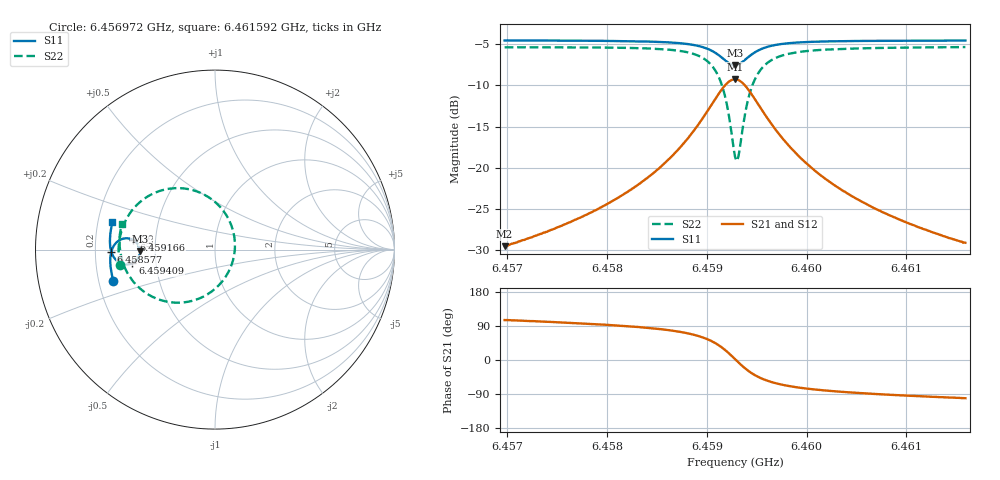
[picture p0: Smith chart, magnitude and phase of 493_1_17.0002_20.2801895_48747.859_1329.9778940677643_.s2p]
#  HZ  S  RI  R  50.00
! Rohde & Schwarz Vector Network Analyzer
! Rohde-Schwarz,ZNB20-2Port,1311601062101988,3.16
! Created: UTC 3/20/2024, 11:14:10 PM
! freq[Hz]  re:S11  im:S11  re:S21  im:S21  re:S12  im:S12  re:S22  im:S22
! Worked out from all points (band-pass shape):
!   401 points, 6.456972 GHz to 6.461592 GHz, reference 50 ohm
!   highest |S21| = -9.26 dB at 6.459282 GHz (marker M1); lowest = -29.5 dB at 6.456972 GHz (marker M2)
!   |S21| within 3 dB of the highest: 6.459051 GHz to 6.459513 GHz (461.6 kHz wide, 0.00715 % of centre)
!   lowest |S11| = -7.6 dB at 6.459282 GHz (marker M3), VSWR 2.44, Z = 20.5 - j0.489 ohm
!   |S11| at or under -10 dB: nowhere
!   |S22| runs from -19.1 to -5.4 dB; largest |S21 - S12| = 0.013
!   S11 on the Smith chart (normalised r, x): 6.456972 GHz: 0.26, -0.14; 6.458577 GHz: 0.27, -0.01; 6.459166 GHz: 0.37, +0.05; 6.459409 GHz: 0.37, -0.07; 6.461592 GHz: 0.26, +0.12
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6.4569719e9  -0.5664 -0.1725  -0.0089 0.0323  -0.00719 0.0322  -0.5316 -0.0854
6.4577457e9  -0.5806 -0.1049  -0.00562 0.0501  -0.00313 0.0495  -0.5373 0.00491
6.4581846e9  -0.5836 -0.061  0.000542 0.0703  0.00373 0.0689  -0.5288 0.0744
6.4585196e9  -0.5798 -0.0209  0.014 0.0983  0.018 0.0956  -0.504 0.1499
6.4585773e9  -0.578 -0.013  0.0184 0.1052  0.0224 0.1021  -0.4959 0.1665
6.4587852e9  -0.5651 0.019  0.0457 0.1375  0.0499 0.1325  -0.4446 0.2392
6.4589354e9  -0.5426 0.0453  0.0908 0.1678  0.094 0.1612  -0.3615 0.3036
6.459074e9  -0.499 0.0629  0.1777 0.1846  0.1786 0.1771  -0.2028 0.3426
6.4591664e9  -0.4546 0.0529  0.2673 0.1536  0.2675 0.1475  -0.0366 0.2927
6.4592126e9  -0.4335 0.0341  0.3109 0.1108  0.3121 0.1055  0.0461 0.2166
6.4592819e9  -0.4187 -0.00983  0.344 0.0141  0.3477 0.00726  0.111 0.0372
6.4592934e9  -0.4192 -0.0179  0.3437 -0.00356  0.3477 -0.0113  0.1108 0.00357
6.4593165e9  -0.4226 -0.0335  0.3384 -0.0382  0.3421 -0.0472  0.0997 -0.0621
6.4593627e9  -0.4382 -0.0594  0.3099 -0.0979  0.3121 -0.1099  0.0422 -0.175
6.4594089e9  -0.4602 -0.0756  0.2679 -0.1389  0.2672 -0.1521  -0.0428 -0.2497
6.4595013e9  -0.5033 -0.0823  0.1833 -0.1699  0.1771 -0.1813  -0.2112 -0.2957
6.4596515e9  -0.547 -0.0618  0.0958 -0.156  0.0873 -0.1622  -0.3783 -0.2462
6.4598132e9  -0.5685 -0.034  0.0511 -0.1283  0.0434 -0.1309  -0.4583 -0.1744
6.4600558e9  -0.5811 0.00148  0.0221 -0.0969  0.0163 -0.0974  -0.506 -0.092
6.4603792e9  -0.5855 0.04  0.00689 -0.0715  0.00263 -0.0709  -0.5268 -0.0174
6.4608296e9  -0.5835 0.0854  -0.00152 -0.0516  -0.0044 -0.0508  -0.5316 0.0551
6.4615919e9  -0.5711 0.1528  -0.00661 -0.0345  -0.00824 -0.0336  -0.5201 0.145
